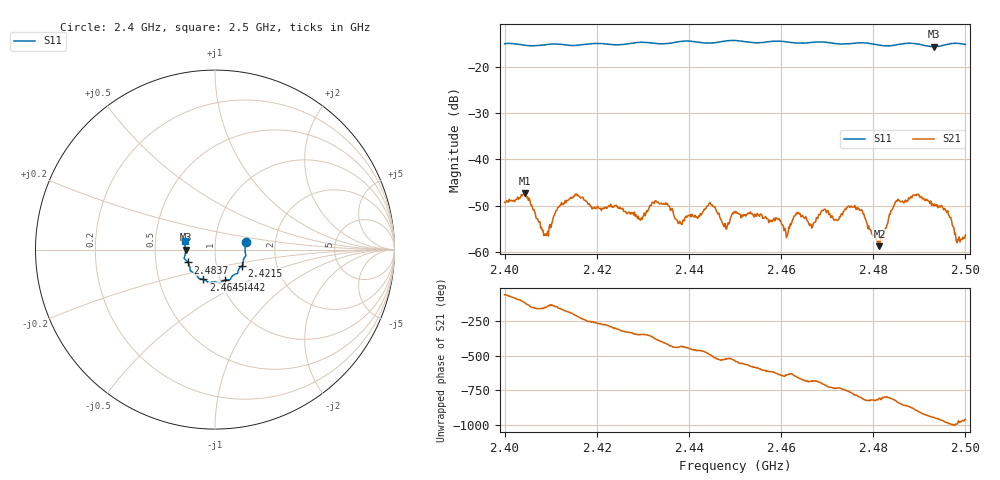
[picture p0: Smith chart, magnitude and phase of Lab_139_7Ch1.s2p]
# Hz S RI R 50
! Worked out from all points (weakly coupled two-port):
!   601 points, 2.4 GHz to 2.5 GHz, reference 50 ohm
!   highest |S21| = -47.36 dB at 2.4043 GHz (marker M1); lowest = -58.7 dB at 2.4813 GHz (marker M2)
!   lowest |S11| = -15.7 dB at 2.4932 GHz (marker M3), VSWR 1.39, Z = 35.9 - j0.045 ohm
!   |S11| at or under -10 dB: start of sweep to end of sweep
!   S12 and S22 are empty: the file has one direction only
!   S11 on the Smith chart (normalised r, x): 2.4 GHz: 1.41, +0.12; 2.4215 GHz: 1.33, -0.25; 2.4442 GHz: 1.05, -0.37; 2.4645 GHz: 0.83, -0.29; 2.4837 GHz: 0.73, -0.11; 2.5 GHz: 0.71, +0.07
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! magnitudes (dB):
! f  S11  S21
! 2.4 GHz  -15.1  -49.3
! 2.4043 GHz  -15.4  -47.4
! 2.409 GHz  -15.3  -56.4
! 2.412 GHz  -15.2  -49.9
! 2.4167 GHz  -15.3  -48.2
! 2.4215 GHz  -15.1  -50.7
! 2.4293 GHz  -14.8  -52.9
! 2.4333 GHz  -15.1  -49.2
! 2.438 GHz  -14.6  -53.4
! 2.4442 GHz  -15.0  -50.0
! 2.4478 GHz  -14.5  -53.8
! 2.45 GHz  -14.4  -51.5
! 2.4612 GHz  -14.7  -56.9
! 2.4645 GHz  -15.0  -52.2
! 2.4667 GHz  -14.8  -54.8
! 2.4757 GHz  -15.0  -50.2
! 2.4813 GHz  -15.4  -58.7
! 2.4833 GHz  -15.6  -52.7
! 2.4837 GHz  -15.5  -51.9
! 2.4892 GHz  -15.1  -47.6
! 2.4932 GHz  -15.7  -50.0
! 2.5 GHz  -15.3  -56.3
